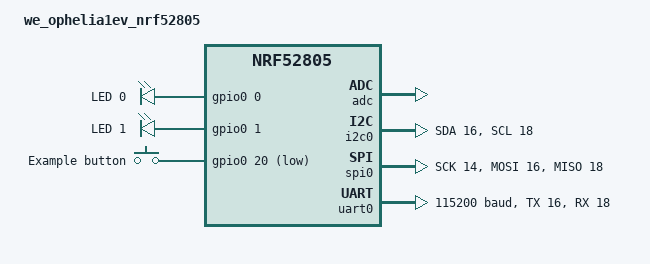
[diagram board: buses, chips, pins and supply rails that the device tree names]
/*
 * Copyright (c) 2022 Nordic Semiconductor ASA
 *
 * SPDX-License-Identifier: Apache-2.0
 */

/dts-v1/;
#include <nordic/nrf52805_caaa.dtsi>

/ {
	model = "we_ophelia1ev_nrf52805";
	compatible = "we,we-ophelia1ev-nrf52805";

	chosen {
		zephyr,console = &uart0;
		zephyr,shell-uart = &uart0;
		zephyr,uart-mcumgr = &uart0;
		zephyr,bt-mon-uart = &uart0;
		zephyr,bt-c2h-uart = &uart0;
		zephyr,sram = &sram0;
		zephyr,flash = &flash0;
		zephyr,code-partition = &slot0_partition;
	};

	leds {
		compatible = "gpio-leds";
		led0: led_0 {
			gpios = <&gpio0 0 GPIO_ACTIVE_HIGH>;
			label = "LED 0";
		};
		led1: led_1 {
			gpios = <&gpio0 1 GPIO_ACTIVE_HIGH>;
			label = "LED 1";
		};
	};

	buttons {
		compatible = "gpio-keys";
		button0: button_0 {
			label = "Example button";
			gpios = <&gpio0 20 (GPIO_PULL_UP | GPIO_ACTIVE_LOW)>;
		};
	};

	/* These aliases are provided for compatibility with samples */
	aliases {
		led0 = &led0;
		led1 = &led1;
		sw0 = &button0;
		bootloader-led0 = &led0;
	};
};

&adc {
	status = "okay";
};

&gpio0 {
	status = "okay";
};

&gpiote {
	status = "okay";
};

&i2c0 {
	compatible = "nordic,nrf-twi";
	status = "okay";
	sda-pin = <16>;
	scl-pin = <18>;
};

&spi0 {
	compatible = "nordic,nrf-spi";
	status = "okay";
	sck-pin = <14>;
	mosi-pin = <16>;
	miso-pin = <18>;
};

&uart0 {
	compatible = "nordic,nrf-uarte";
	status = "okay";
	current-speed = <115200>;
	tx-pin = <16>;
	rx-pin = <18>;
	rx-pull-up;
	rts-pin = <4>;
	cts-pin = <14>;
	cts-pull-up;
};

&flash0 {
	partitions {
		compatible = "fixed-partitions";
		#address-cells = <1>;
		#size-cells = <1>;

		boot_partition: partition@0 {
			label = "mcuboot";
			reg = <0x00000000 0xc000>;
		};
		slot0_partition: partition@c000 {
			label = "image-0";
			reg = <0x0000C000 0xd000>;
		};
		slot1_partition: partition@19000 {
			label = "image-1";
			reg = <0x00019000 0xd000>;
		};
		scratch_partition: partition@26000 {
			label = "image-scratch";
			reg = <0x00026000 0x3000>;
		};
		storage_partition: partition@29000 {
			label = "storage";
			reg = <0x00029000 0x00007000>;
		};
	};
};
